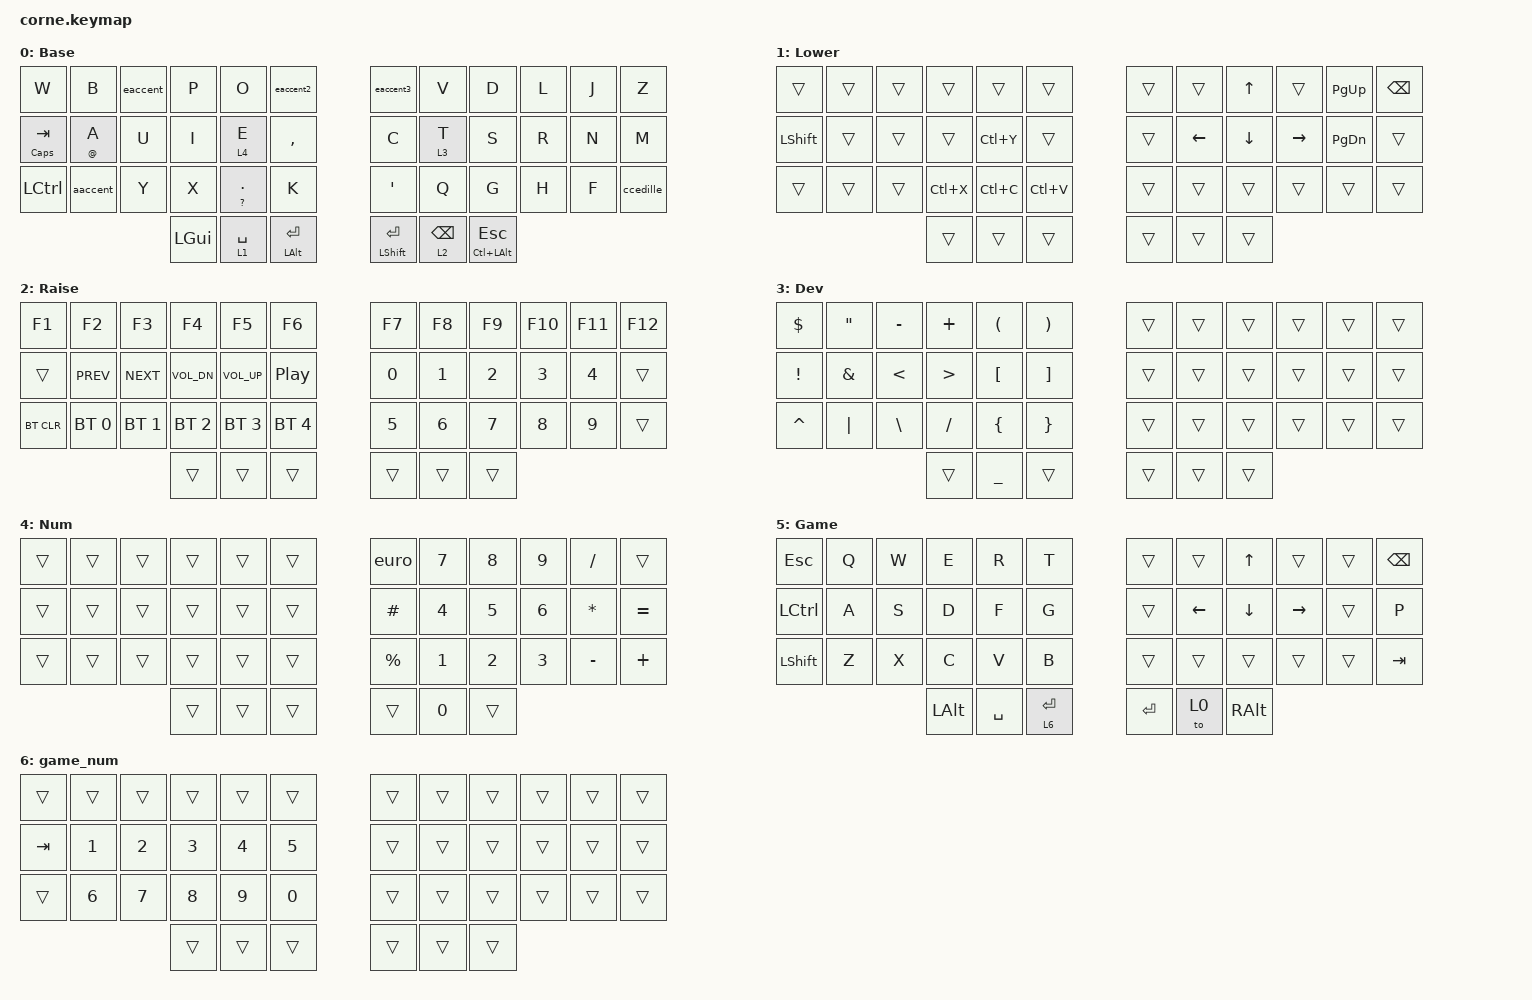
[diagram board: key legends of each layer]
/*
 * Copyright (c) 2020 The ZMK Contributors
 *
 * SPDX-License-Identifier: MIT
 */

#include "keymap_french.h"
#include <behaviors.dtsi>
#include <dt-bindings/zmk/bt.h>
#include <dt-bindings/zmk/keys.h>

&nice_view_spi { cs-gpios = <&pro_micro 0 GPIO_ACTIVE_HIGH>; };

/ {
    behaviors {
        hm: homerow_mods {
            compatible = "zmk,behavior-hold-tap";
            label = "HOMEROW_MODS";
            #binding-cells = <2>;
            tapping-term-ms = <200>;
            quick_tap_ms = <0>;
            flavor = "tap-preferred";
            bindings = <&kp>, <&kp>;
        };

        td: tapdance {
            compatible = "zmk,behavior-hold-tap";
            label = "TAPDANCE";
            #binding-cells = <2>;
            tapping-term-ms = <150>;
            quick_tap_ms = <0>;
            flavor = "tap-preferred";
            bindings = <&kp>, <&kp>;
        };
    };

    macros {
        eaccent: eaccent {
            compatible = "zmk,behavior-macro";
            label = "EACCENT";
            #binding-cells = <0>;
            wait-ms = <20>;
            tap-ms = <10>;
            bindings =
                <&macro_press>,
                <&kp LEFT_ALT>,
                <&macro_tap>,
                <&kp KP_NUMBER_0>,
                <&macro_tap>,
                <&kp KP_NUMBER_2>,
                <&macro_tap>,
                <&kp KP_NUMBER_3>,
                <&macro_tap>,
                <&kp KP_NUMBER_3>,
                <&macro_release>,
                <&kp LEFT_ALT>;
        };

        eaccent2: eaccent2 {
            compatible = "zmk,behavior-macro";
            label = "EACCENT2";
            #binding-cells = <0>;
            wait-ms = <20>;
            tap-ms = <10>;
            bindings =
                <&macro_press>,
                <&kp LEFT_ALT>,
                <&macro_tap>,
                <&kp KP_NUMBER_0>,
                <&macro_tap>,
                <&kp KP_NUMBER_2>,
                <&macro_tap>,
                <&kp KP_NUMBER_3>,
                <&macro_tap>,
                <&kp KP_NUMBER_2>,
                <&macro_release>,
                <&kp LEFT_ALT>;
        };

        aaccent: aaccent {
            compatible = "zmk,behavior-macro";
            label = "AACCENT";
            #binding-cells = <0>;
            wait-ms = <20>;
            tap-ms = <10>;
            bindings =
                <&macro_press>,
                <&kp LEFT_ALT>,
                <&macro_tap>,
                <&kp KP_NUMBER_0>,
                <&macro_tap>,
                <&kp KP_NUMBER_2>,
                <&macro_tap>,
                <&kp KP_NUMBER_2>,
                <&macro_tap>,
                <&kp KP_NUMBER_4>,
                <&macro_release>,
                <&kp LEFT_ALT>;
        };

        ccedille: ccedille {
            compatible = "zmk,behavior-macro";
            label = "CCEDILLE";
            #binding-cells = <0>;
            wait-ms = <20>;
            tap-ms = <10>;
            bindings =
                <&macro_press>,
                <&kp LEFT_ALT>,
                <&macro_tap>,
                <&kp KP_NUMBER_0>,
                <&macro_tap>,
                <&kp KP_NUMBER_2>,
                <&macro_tap>,
                <&kp KP_NUMBER_3>,
                <&macro_tap>,
                <&kp KP_NUMBER_1>,
                <&macro_release>,
                <&kp LEFT_ALT>;
        };

        euro: euro {
            compatible = "zmk,behavior-macro";
            label = "EURO";
            #binding-cells = <0>;
            wait-ms = <20>;
            tap-ms = <10>;
            bindings =
                <&macro_press>,
                <&kp LEFT_ALT>,
                <&macro_tap>,
                <&kp KP_NUMBER_0>,
                <&macro_tap>,
                <&kp KP_NUMBER_1>,
                <&macro_tap>,
                <&kp KP_NUMBER_2>,
                <&macro_tap>,
                <&kp KP_NUMBER_8>,
                <&macro_release>,
                <&kp LEFT_ALT>;
        };

        eaccent3: eaccent3 {
            compatible = "zmk,behavior-macro";
            label = "EACCENT3";
            #binding-cells = <0>;
            wait-ms = <20>;
            tap-ms = <10>;
            bindings =
                <&macro_press>,
                <&kp LEFT_ALT>,
                <&macro_tap>,
                <&kp KP_NUMBER_1>,
                <&macro_tap>,
                <&kp KP_NUMBER_3>,
                <&macro_tap>,
                <&kp KP_NUMBER_6>,
                <&macro_release>,
                <&kp LEFT_ALT>;
        };
    };

    combos {
        compatible = "zmk,combos";

        game {
            bindings = <&to 5>;
            key-positions = <0 1>;
        };

        lang {
            bindings = <&kp LG(SPACE)>;
            key-positions = <12 13>;
        };
    };

    keymap {
        compatible = "zmk,keymap";

        Base {
            // -----------------------------------------------------------------------------------------
            // | W    |  B  |  é  |  P  |  O  |  è  |   |  ^  |  V   |  D  |  L  |  J  | Z |
            // | TAB  |  A  |  U  |  I  |  E  |  ,  |   |  C  |  T   |  S  |  R  |  N  | M |
            // | LCTRL|  à  |  Y  |  X  |  .  |  K  |   |  '  |  Q   |  G  |  H  |  F  | C |
            //                    | GUI | SPC | LWR |   | ENT | BKSP | ESC |

            label = "Base";
            bindings = <
&kp W         &kp B          &eaccent  &kp P     &kp O             &eaccent2             &eaccent3           &kp V       &kp D                 &kp L  &kp J  &kp Z
&hm CAPS TAB  &hm AT_SIGN A  &kp U     &kp I     &lt 4 E           &kp COMMA             &kp C               &lt 3 T     &kp S                 &kp R  &kp N  &kp M
&kp LCTRL     &aaccent       &kp Y     &kp X     &td QUESTION DOT  &kp K                 &kp APOSTROPHE      &kp Q       &kp G                 &kp H  &kp F  &ccedille
                                       &kp LGUI  &lt 1 SPACE       &hm LEFT_ALT ENTER    &hm LEFT_SHIFT RET  &lt 2 BSPC  &hm LC(LEFT_ALT) ESC
            >;
        };

        Lower {
            // -----------------------------------------------------------------------------------------
            // |      |    |    |     |     |     |   |    |        |        |         |    |   |
            // |      |    |    |     |  z  |     |   |    |        |   up   |         |    |   |
            // |      |    |    |  x  |  c  |  v  |   |    |  left  |  down  |  right  |    |   |
            //                  |     |     |     |   |    |        |        |

            label = "Lower";
            bindings = <
&trans      &trans  &trans  &trans     &trans     &trans       &trans  &trans    &kp UP    &trans     &kp PAGE_UP    &kp BSPC
&kp LSHIFT  &trans  &trans  &trans     &kp LC(Y)  &trans       &trans  &kp LEFT  &kp DOWN  &kp RIGHT  &kp PAGE_DOWN  &trans
&trans      &trans  &trans  &kp LC(X)  &kp LC(C)  &kp LC(V)    &trans  &trans    &trans    &trans     &trans         &trans
                            &trans     &trans     &trans       &trans  &trans    &trans
            >;
        };

        Raise {
            // -----------------------------------------------------------------------------------------
            // |       |  F1  |  F2  |  F3  |  F4  |  F5 |         |  F6  |  F7  |  F8  |  F9  | F10 |     |
            // |       | PREV | NEXT | Vol -| Vol +| Play/Pause |  |      | left | down |  up  |right|     |
            // | BTCLR | BT1  | BT2  | BT3  | BT4  | BT5 |         |      |      |      |      |     |     |
            //                          |     |     |    |         |      |      |      |

            label = "Raise";
            bindings = <
&kp F1      &kp F2        &kp F3        &kp F4        &kp F5        &kp F6          &kp F7        &kp F8        &kp F9        &kp F10       &kp F11       &kp F12
&trans      &kp C_PREV    &kp C_NEXT    &kp C_VOL_DN  &kp C_VOL_UP  &kp C_PP        &kp NUMBER_0  &kp NUMBER_1  &kp NUMBER_2  &kp NUMBER_3  &kp NUMBER_4  &trans
&bt BT_CLR  &bt BT_SEL 0  &bt BT_SEL 1  &bt BT_SEL 2  &bt BT_SEL 3  &bt BT_SEL 4    &kp NUMBER_5  &kp NUMBER_6  &kp NUMBER_7  &kp NUMBER_8  &kp NUMBER_9  &trans
                                        &trans        &trans        &trans          &trans        &trans        &trans
            >;
        };

        Dev {
            // -----------------------------------------------------------------------------------------
            // |      |  !  |  @  |  #  |  $  |    %     |   |  ^  |  &  |  *  |  (  |  )  |   \   |
            // |      |  1  |  2  |  3  |  4  |    5     |   |  -  |  =  |  `  |  [  |  ]  |  "|"  |
            // |      |  6  |  7  |  8  |  9  |    0     |   |  _  |  +  |  ~  |  {  |  }  | RSHFT |
            //                     | GUI |     | ALT/ENT |   | HYPER/SPACE | BKSP |    |

            label = "Dev";
            bindings = <
&kp DOLLAR       &kp DQT   &kp MINUS      &kp PLUS          &kp LEFT_PARENTHESIS  &kp RIGHT_PARENTHESIS    &trans  &trans  &trans  &trans  &trans  &trans
&kp EXCLAMATION  &kp AMPS  &kp LESS_THAN  &kp GREATER_THAN  &kp LEFT_BRACKET      &kp RIGHT_BRACKET        &trans  &trans  &trans  &trans  &trans  &trans
&kp CARET        &kp PIPE  &kp BACKSLASH  &kp SLASH         &kp LEFT_BRACE        &kp RIGHT_BRACE          &trans  &trans  &trans  &trans  &trans  &trans
                                          &trans            &kp UNDERSCORE        &trans                   &trans  &trans  &trans
            >;
        };

        Num {
            // -----------------------------------------------------------------------------------------
            // |      |  !  |  @  |  #  |  $  |    %     |   |  ^  |  &  |  *  |  (  |  )  |   \   |
            // |      |  1  |  2  |  3  |  4  |    5     |   |  -  |  =  |  `  |  [  |  ]  |  "|"  |
            // |      |  6  |  7  |  8  |  9  |    0     |   |  _  |  +  |  ~  |  {  |  }  | RSHFT |
            //                     | GUI |     | ALT/ENT |   | HYPER/SPACE | BKSP |    |

            label = "Num";
            bindings = <
&trans  &trans  &trans  &trans  &trans  &trans    &euro      &kp NUMBER_7  &kp NUMBER_8  &kp NUMBER_9  &kp SLASH     &trans
&trans  &trans  &trans  &trans  &trans  &trans    &kp POUND  &kp NUMBER_4  &kp NUMBER_5  &kp NUMBER_6  &kp ASTERISK  &kp EQUAL
&trans  &trans  &trans  &trans  &trans  &trans    &kp PRCNT  &kp NUMBER_1  &kp NUMBER_2  &kp NUMBER_3  &kp MINUS     &kp PLUS
                        &trans  &trans  &trans    &trans     &kp NUMBER_0  &trans
            >;
        };

        Game {
            label = "Game";
            bindings = <
&kp ESC         &kp Q  &kp W  &kp E         &kp R      &kp T          &trans   &trans    &kp UP         &trans     &trans  &kp BSPC
&kp LCTRL       &kp A  &kp S  &kp D         &kp F      &kp G          &trans   &kp LEFT  &kp DOWN       &kp RIGHT  &trans  &kp P
&kp LEFT_SHIFT  &kp Z  &kp X  &kp C         &kp V      &kp B          &trans   &trans    &trans         &trans     &trans  &kp TAB
                              &kp LEFT_ALT  &kp SPACE  &lt 6 ENTER    &kp RET  &to 0     &kp RIGHT_ALT
            >;
        };

        game_num {
            bindings = <
&trans   &trans        &trans        &trans        &trans        &trans          &trans  &trans  &trans  &trans  &trans  &trans
&kp TAB  &kp NUMBER_1  &kp NUMBER_2  &kp NUMBER_3  &kp NUMBER_4  &kp NUMBER_5    &trans  &trans  &trans  &trans  &trans  &trans
&trans   &kp NUMBER_6  &kp NUMBER_7  &kp NUMBER_8  &kp NUMBER_9  &kp NUMBER_0    &trans  &trans  &trans  &trans  &trans  &trans
                                     &trans        &trans        &trans          &trans  &trans  &trans
            >;
        };
    };
};
